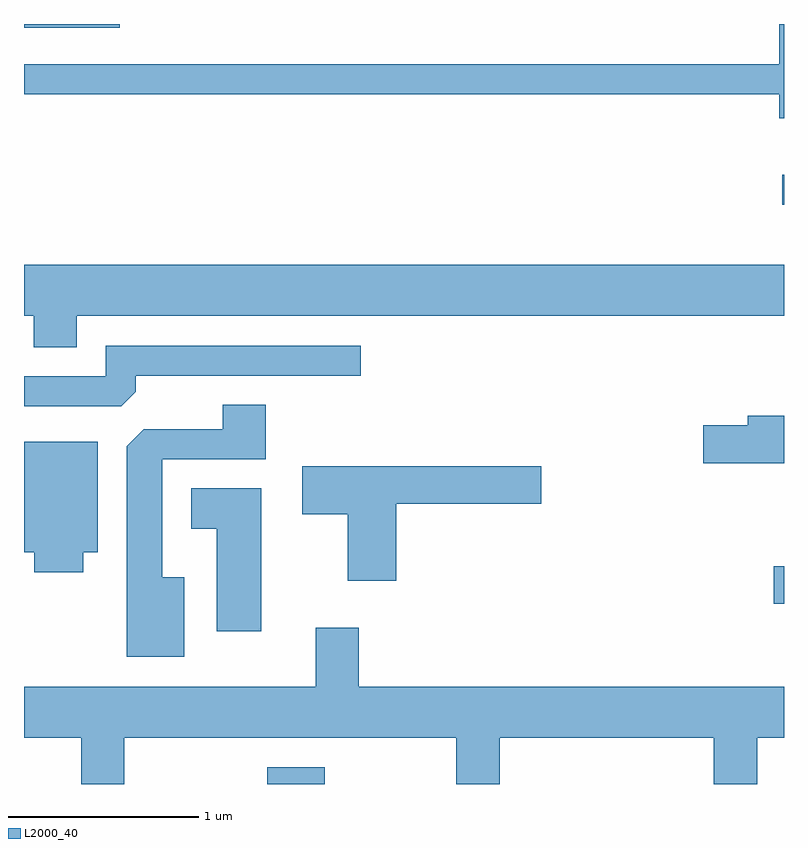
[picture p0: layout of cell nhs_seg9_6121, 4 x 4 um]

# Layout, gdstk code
import gdstk
lib = gdstk.Library(unit=1e-6, precision=1e-09)
def R(c, l, rs):  # rectangles x0, y0, x1, y1
    for r in rs: c.add(gdstk.rectangle(r[:2], r[2:], *l))
def P(c, l, *ps):  # polygons
    for p in ps: c.add(gdstk.Polygon(p, *l))
L2000_40 = (2000, 40)

nhs_seg9_6121 = lib.new_cell('nhs_seg9_6121')
R(nhs_seg9_6121, L2000_40, [(366.891,2020.432,367.194,2020.519), (369.556,2021.381,369.611,2021.579), (369.603,2023.481,369.611,2023.639), (365.611,2024.411,366.114,2024.432)])
P(nhs_seg9_6121, L2000_40, [(369.611,2024.432),(369.586,2024.432),(369.586,2024.219),(365.611,2024.219),(365.611,2024.061),(369.586,2024.061),(369.586,2023.936),(369.611,2023.936)],
  [(365.889,2022.896),(369.611,2022.896),(369.611,2023.164),(365.611,2023.164),(365.611,2022.896),(365.661,2022.896),(365.661,2022.731),(365.889,2022.731)],
  [(366.199,2022.497),(366.199,2022.581),(367.383,2022.581),(367.383,2022.739),(366.041,2022.739),(366.041,2022.579),(365.611,2022.579),(365.611,2022.421),(366.124,2022.421)],
  [(366.454,2021.519),(366.339,2021.519),(366.339,2022.141),(366.884,2022.141),(366.884,2022.429),(366.656,2022.429),(366.656,2022.299),(366.242,2022.299),(366.151,2022.209),(366.151,2021.101),(366.454,2021.101)],
  [(369.611,2022.369),(369.421,2022.369),(369.421,2022.319),(369.186,2022.319),(369.186,2022.121),(369.611,2022.121)],
  [(365.924,2021.651),(365.999,2021.651),(365.999,2022.234),(365.611,2022.234),(365.611,2021.651),(365.666,2021.651),(365.666,2021.546),(365.924,2021.546)],
  [(367.569,2021.906),(368.334,2021.906),(368.334,2022.104),(367.076,2022.104),(367.076,2021.851),(367.316,2021.851),(367.316,2021.501),(367.569,2021.501)],
  [(366.859,2021.989),(366.491,2021.989),(366.491,2021.776),(366.626,2021.776),(366.626,2021.236),(366.859,2021.236)],
  [(366.139,2020.676),(367.886,2020.676),(367.886,2020.432),(368.114,2020.432),(368.114,2020.676),(369.241,2020.676),(369.241,2020.432),(369.469,2020.432),(369.469,2020.676),(369.611,2020.676),(369.611,2020.944),(367.374,2020.944),(367.374,2021.254),(367.146,2021.254),(367.146,2020.944),(365.611,2020.944),(365.611,2020.676),(365.911,2020.676),(365.911,2020.432),(366.139,2020.432)])

lib.write_gds('nhs_seg9_6121.gds')
